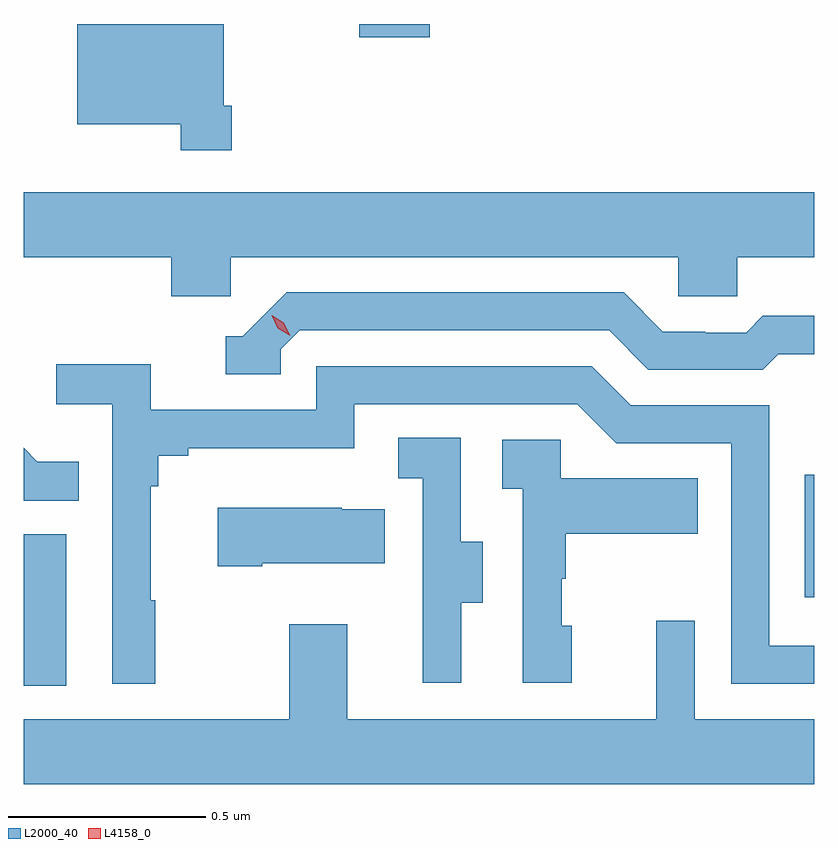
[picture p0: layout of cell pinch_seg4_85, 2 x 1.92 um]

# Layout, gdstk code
import gdstk
lib = gdstk.Library(unit=1e-6, precision=1e-09)
def R(c, l, rs):  # rectangles x0, y0, x1, y1
    for r in rs: c.add(gdstk.rectangle(r[:2], r[2:], *l))
def P(c, l, *ps):  # polygons
    for p in ps: c.add(gdstk.Polygon(p, *l))
L2000_40 = (2000, 40)
L4158_0 = (4158, 0)

pinch_seg4_85 = lib.new_cell('pinch_seg4_85')
R(pinch_seg4_85, L2000_40, [(1077.574,814.385,1077.682,814.767), (1079.55,814.608,1079.574,814.918), (1078.423,816.024,1078.601,816.058)])
P(pinch_seg4_85, L2000_40, [(1078.1,815.851),(1078.08,815.851),(1078.08,816.058),(1077.71,816.058),(1077.71,815.804),(1077.972,815.804),(1077.972,815.739),(1078.1,815.739)],
  [(1078.098,815.468),(1079.229,815.468),(1079.229,815.37),(1079.379,815.37),(1079.379,815.468),(1079.574,815.468),(1079.574,815.632),(1077.574,815.632),(1077.574,815.468),(1077.947,815.468),(1077.947,815.37),(1078.098,815.37)],
  [(1078.224,815.235),(1078.272,815.283),(1079.055,815.283),(1079.154,815.184),(1079.443,815.184),(1079.482,815.223),(1079.574,815.223),(1079.574,815.32),(1079.443,815.32),(1079.401,815.277),(1079.298,815.277),(1079.298,815.28),(1079.191,815.28),(1079.092,815.379),(1078.239,815.379),(1078.128,815.268),(1078.085,815.268),(1078.085,815.172),(1078.224,815.172)],
  [(1077.907,814.601),(1077.895,814.601),(1077.895,814.889),(1077.914,814.889),(1077.914,814.966),(1077.991,814.966),(1077.991,814.985),(1078.41,814.985),(1078.41,815.097),(1078.974,815.097),(1079.073,814.998),(1079.364,814.998),(1079.364,814.389),(1079.573,814.389),(1079.573,814.485),(1079.46,814.485),(1079.46,815.094),(1079.11,815.094),(1079.011,815.193),(1078.314,815.193),(1078.314,815.082),(1077.896,815.082),(1077.896,815.198),(1077.657,815.198),(1077.657,815.096),(1077.798,815.096),(1077.798,814.389),(1077.907,814.389)],
  [(1078.681,814.594),(1078.735,814.594),(1078.735,814.749),(1078.68,814.749),(1078.68,815.012),(1078.521,815.012),(1078.521,814.909),(1078.584,814.909),(1078.584,814.605),(1078.583,814.605),(1078.583,814.392),(1078.681,814.392)],
  [(1078.96,814.536),(1078.935,814.536),(1078.935,814.655),(1078.945,814.655),(1078.945,814.769),(1079.279,814.769),(1079.279,814.909),(1078.932,814.909),(1078.932,815.007),(1078.785,815.007),(1078.785,814.883),(1078.836,814.883),(1078.836,814.392),(1078.96,814.392)],
  [(1077.713,814.951),(1077.609,814.951),(1077.574,814.986),(1077.574,814.852),(1077.713,814.852)],
  [(1078.177,814.694),(1078.487,814.694),(1078.487,814.831),(1078.379,814.831),(1078.379,814.834),(1078.065,814.834),(1078.065,814.687),(1078.177,814.687)],
  [(1079.574,814.3),(1079.271,814.3),(1079.271,814.549),(1079.174,814.549),(1079.174,814.3),(1078.393,814.3),(1078.393,814.54),(1078.246,814.54),(1078.246,814.3),(1077.574,814.3),(1077.574,814.136),(1079.574,814.136)])
P(pinch_seg4_85, L4158_0, [(1078.248,815.269),(1078.217,815.289),(1078.202,815.321),(1078.202,815.322),(1078.202,815.322),(1078.232,815.302),(1078.248,815.269),(1078.248,815.269)])

lib.write_gds('pinch_seg4_85.gds')
